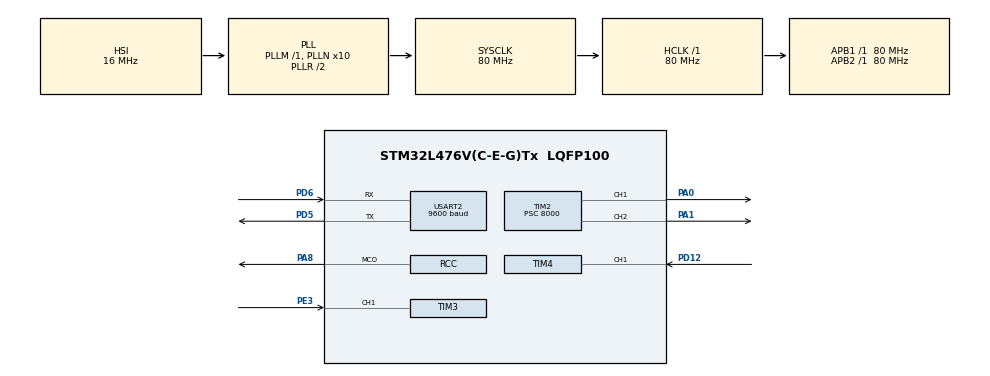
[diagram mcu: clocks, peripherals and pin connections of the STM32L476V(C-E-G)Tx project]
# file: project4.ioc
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Mcu.Family=STM32L4
RCC.MSI_VALUE=4000000
RCC.PLLSourceVirtual=RCC_PLLSOURCE_HSI
SH.S_TIM2_CH1.0=TIM2_CH1,PWM Generation1 CH1
RCC.CortexFreq_Value=80000000
FREERTOS.Tasks01=defaultTask,24,256,StartDefaultTask,Default,NULL,Dynamic,NULL,NULL
VP_SYS_VS_tim17.Mode=TIM17
PH0-OSC_IN\ (PH0).Signal=RCC_OSC_IN
PD5.Signal=USART2_TX
TIM2.Channel-PWM\ Generation2\ CH2=TIM_CHANNEL_2
PD6.Mode=Asynchronous
NVIC.USART2_IRQn=true\:5\:0\:true\:false\:true\:false\:true\:true
USART2.BaudRate=9600
PH1-OSC_OUT\ (PH1).Signal=RCC_OSC_OUT
RCC.SYSCLKSource=RCC_SYSCLKSOURCE_PLLCLK
ProjectManager.StackSize=0x400
TIM2.Pulse-PWM\ Generation1\ CH1=500
VP_FREERTOS_VS_CMSIS_V2.Mode=CMSIS_V2
TIM4.Channel-Input_Capture1_from_TI1=TIM_CHANNEL_1
FREERTOS.configUSE_IDLE_HOOK=0
SH.S_TIM2_CH2.0=TIM2_CH2,PWM Generation2 CH2
ProjectManager.TargetToolchain=STM32CubeIDE
FREERTOS.configUSE_STATS_FORMATTING_FUNCTIONS=1
RCC.HCLKFreq_Value=80000000
RCC.APB2TimFreq_Value=80000000
RCC.USBFreq_Value=64000000
TIM4.Prescaler=8000
FREERTOS.configMINIMAL_STACK_SIZE=256
RCC.LSE_VALUE=32768
PA1.Signal=S_TIM2_CH2
RCC.AHBFreq_Value=80000000
PD5.Mode=Asynchronous
PH1-OSC_OUT\ (PH1).Mode=HSE-External-Oscillator
RCC.HSE_VALUE=8000000
TIM3.Channel-Input_Capture1_from_TI1=TIM_CHANNEL_1
board=custom
USART2.VirtualMode-Asynchronous=VM_ASYNC
RCC.VCOOutputFreq_Value=160000000
NVIC.TIM1_TRG_COM_TIM17_IRQn=true\:0\:0\:false\:false\:true\:false\:false\:true
RCC.APB2Freq_Value=80000000
VP_TIM2_VS_ClockSourceINT.Mode=Internal
TIM3.Prescaler=8000
NVIC.TIM2_IRQn=true\:5\:0\:false\:false\:true\:true\:true\:true
RCC.ADCFreq_Value=64000000
PA8.Signal=RCC_MCO
TIM2.Channel-PWM\ Generation1\ CH1=TIM_CHANNEL_1
SH.S_TIM3_CH1.0=TIM3_CH1,Input_Capture1_from_TI1
TIM2.Period=200
Mcu.Name=STM32L476V(C-E-G)Tx
FREERTOS.configTOTAL_HEAP_SIZE=20000
PA0.Signal=S_TIM2_CH1
RCC.SYSCLKFreq_VALUE=80000000
Mcu.Package=LQFP100
TIM2.Prescaler=8000
NVIC.TimeBase=TIM1_TRG_COM_TIM17_IRQn
PD12.Signal=S_TIM4_CH1
NVIC.TimeBaseIP=TIM17
ProjectManager.HeapSize=0x200
TIM2.Pulse-PWM\ Generation2\ CH2=500
RCC.HSI_VALUE=16000000
NVIC.PriorityGroup=NVIC_PRIORITYGROUP_4
RCC.PLLN=10
SH.S_TIM4_CH1.0=TIM4_CH1,Input_Capture1_from_TI1
RCC.APB1TimFreq_Value=80000000
PE3.Signal=S_TIM3_CH1
FREERTOS.configGENERATE_RUN_TIME_STATS=1
TIM2.AutoReloadPreload=TIM_AUTORELOAD_PRELOAD_DISABLE
PA8.Mode=Clock-out
PD6.Signal=USART2_RX
RCC.APB1Freq_Value=80000000
PH0-OSC_IN\ (PH0).Mode=HSE-External-Oscillator

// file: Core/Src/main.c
/* USER CODE BEGIN Header */
/**
  ******************************************************************************
  * @file           : main.c
  * @brief          : Main program body
  ******************************************************************************
  * @attention
  *
  * <h2><center>&copy; Copyright (c) 2020 STMicroelectronics.
  * All rights reserved.</center></h2>
  *
  * This software component is licensed by ST under BSD 3-Clause license,
  * the "License"; You may not use this file except in compliance with the
  * License. You may obtain a copy of the License at:
  *                        opensource.org/licenses/BSD-3-Clause
  *
  ******************************************************************************
  */
/* USER CODE END Header */
#include "main.h"
#include "cmsis_os.h"
#include "tim.h"
#include "usart.h"
#include "gpio.h"

void SystemClock_Config(void);
void MX_FREERTOS_Init(void);

/* USER CODE BEGIN 0 */
TIM_HandleTypeDef htim2;
/* USER CODE END 0 */

int main(void)
{

  /* MCU Configuration--------------------------------------------------------*/

  /* Reset of all peripherals, Initializes the Flash interface and the Systick. */
  HAL_Init();

  /* Configure the system clock */
  SystemClock_Config();

  /* Initialize all configured peripherals */
  MX_GPIO_Init();
  MX_USART2_UART_Init();
  MX_TIM2_Init();
  MX_TIM3_Init();
  MX_TIM4_Init();
  /* USER CODE BEGIN 2 */
  HAL_TIM_Base_Start(&htim2);
  HAL_TIM_PWM_Start(&htim2, TIM_CHANNEL_1);
  HAL_TIM_PWM_Start(&htim2, TIM_CHANNEL_2);
//  __HAL_TIM_SetCompare(&htim2, TIM_CHANNEL_2, 0);
//  HAL_Delay(1000);
//  __HAL_TIM_SetCompare(&htim2, TIM_CHANNEL_2, 5);
//  HAL_Delay(1000);
//  __HAL_TIM_SetCompare(&htim2, TIM_CHANNEL_2, 7);
//  HAL_Delay(1000);
//  __HAL_TIM_SetCompare(&htim2, TIM_CHANNEL_2, 10);
//  HAL_Delay(1000);
//  __HAL_TIM_SetCompare(&htim2, TIM_CHANNEL_2, 13);
//  HAL_Delay(1000);
//  __HAL_TIM_SetCompare(&htim2, TIM_CHANNEL_2, 16);
//  HAL_Delay(1000);
//  __HAL_TIM_SetCompare(&htim2, TIM_CHANNEL_2, 19);
//  HAL_Delay(1000);
  /* USER CODE END 2 */

  /* Init scheduler */
  osKernelInitialize();  /* Call init function for freertos objects (in freertos.c) */
  MX_FREERTOS_Init();
  /* Start scheduler */
  osKernelStart();

  /* We should never get here as control is now taken by the scheduler */
  /* Infinite loop */
  while (1)
  {

  }
}

void SystemClock_Config(void)
{
  RCC_OscInitTypeDef RCC_OscInitStruct = {0};
  RCC_ClkInitTypeDef RCC_ClkInitStruct = {0};
  RCC_PeriphCLKInitTypeDef PeriphClkInit = {0};

  /** Initializes the RCC Oscillators according to the specified parameters
  * in the RCC_OscInitTypeDef structure.
  */
  RCC_OscInitStruct.OscillatorType = RCC_OSCILLATORTYPE_HSI;
  RCC_OscInitStruct.HSIState = RCC_HSI_ON;
  RCC_OscInitStruct.HSICalibrationValue = RCC_HSICALIBRATION_DEFAULT;
  RCC_OscInitStruct.PLL.PLLState = RCC_PLL_ON;
  RCC_OscInitStruct.PLL.PLLSource = RCC_PLLSOURCE_HSI;
  RCC_OscInitStruct.PLL.PLLM = 1;
  RCC_OscInitStruct.PLL.PLLN = 10;
  RCC_OscInitStruct.PLL.PLLP = RCC_PLLP_DIV7;
  RCC_OscInitStruct.PLL.PLLQ = RCC_PLLQ_DIV2;
  RCC_OscInitStruct.PLL.PLLR = RCC_PLLR_DIV2;
  if (HAL_RCC_OscConfig(&RCC_OscInitStruct) != HAL_OK)
  {
    Error_Handler();
  }
  /** Initializes the CPU, AHB and APB buses clocks
  */
  RCC_ClkInitStruct.ClockType = RCC_CLOCKTYPE_HCLK|RCC_CLOCKTYPE_SYSCLK
                              |RCC_CLOCKTYPE_PCLK1|RCC_CLOCKTYPE_PCLK2;
  RCC_ClkInitStruct.SYSCLKSource = RCC_SYSCLKSOURCE_PLLCLK;
  RCC_ClkInitStruct.AHBCLKDivider = RCC_SYSCLK_DIV1;
  RCC_ClkInitStruct.APB1CLKDivider = RCC_HCLK_DIV1;
  RCC_ClkInitStruct.APB2CLKDivider = RCC_HCLK_DIV1;

  if (HAL_RCC_ClockConfig(&RCC_ClkInitStruct, FLASH_LATENCY_4) != HAL_OK)
  {
    Error_Handler();
  }
  PeriphClkInit.PeriphClockSelection = RCC_PERIPHCLK_USART2;
  PeriphClkInit.Usart2ClockSelection = RCC_USART2CLKSOURCE_PCLK1;
  if (HAL_RCCEx_PeriphCLKConfig(&PeriphClkInit) != HAL_OK)
  {
    Error_Handler();
  }
  HAL_RCC_MCOConfig(RCC_MCO1, RCC_MCO1SOURCE_SYSCLK, RCC_MCODIV_1);
  /** Configure the main internal regulator output voltage
  */
  if (HAL_PWREx_ControlVoltageScaling(PWR_REGULATOR_VOLTAGE_SCALE1) != HAL_OK)
  {
    Error_Handler();
  }
}

/* USER CODE BEGIN 4 */
void HAL_TIM_IC_CaptureCallback(TIM_HandleTypeDef* htim)
{
	TIM2->CCR1 = (7);
}
/* USER CODE END 4 */

 /**
  * @brief  Period elapsed callback in non blocking mode
  * @note   This function is called  when TIM17 interrupt took place, inside
  * HAL_TIM_IRQHandler(). It makes a direct call to HAL_IncTick() to increment
  * a global variable "uwTick" used as application time base.
  * @param  htim : TIM handle
  * @retval None
  */
void HAL_TIM_PeriodElapsedCallback(TIM_HandleTypeDef *htim)
{
  if (htim->Instance == TIM17) {
    HAL_IncTick();
  }
}

void Error_Handler(void)
{
}

/************************ (C) COPYRIGHT STMicroelectronics *****END OF FILE****/

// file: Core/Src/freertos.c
/* USER CODE BEGIN Header */
/**
  ******************************************************************************
  * File Name          : freertos.c
  * Description        : Code for freertos applications
  ******************************************************************************
  * @attention
  *
  * <h2><center>&copy; Copyright (c) 2020 STMicroelectronics.
  * All rights reserved.</center></h2>
  *
  * This software component is licensed by ST under Ultimate Liberty license
  * SLA0044, the "License"; You may not use this file except in compliance with
  * the License. You may obtain a copy of the License at:
  *                             www.st.com/SLA0044
  *
  ******************************************************************************
  */
/* USER CODE END Header */

#include "FreeRTOS.h"
#include "task.h"
#include "main.h"
#include "cmsis_os.h"

/* USER CODE BEGIN Includes */
/////////////////////////////////////////////////////////////////////////
/////////////////////////////////////////////////////////////////////////
/////////////////////////////////////////////////////////////////////////

#include "string.h"
#include "stdio.h"
#include "stm32l476xx.h"
#include "usart.h"
#include "semphr.h"
#include "tim.h"
#include <stdarg.h>

#define MOV (32)
#define WAIT (64)
#define LOOP (128)
#define END_LOOP (160)
#define RECIPE_END (0)
#define ERROR (192)
#define ZERO_DEGREES (5)
#define THIRY_TWO_DEGREES (7)
#define SIXTY_FOUR_DEGREES (10)
#define NINETY_SIX_DEGREES (13)
#define ONE_HUNDRED_AND_TWENTY_EIGHT_DEGREES (16)
#define ONE_HUNDRED_AND_SIXTY_DEGREES (19)

typedef enum {
	inactive,
	active,
	paused,
} servo_status;

typedef enum {
	idle,
	running,
} recipe_status;

typedef enum {
	zero_degrees,
	thiry_two_degrees,
	sixty_four_degrees,
	ninety_six_degrees,
	one_hundred_and_twenty_eight_degrees,
	one_hundred_and_sixty_degrees,
	END_OF_POSITION_ARRAY
} position;

typedef struct{
	servo_status status;
	position position;
	uint16_t last_start;
	position next_pos;
	uint16_t delay;
	recipe_status recipe_status;
	int recipe_idx;
	int instr_idx;
	int loop_cnt;
	int is_in_loop;
	int loop_idx;
} servo_data;

typedef struct{
	uint8_t opcode;
	uint8_t parameter;
} current_instruction;

typedef struct{
	int motor_idx;
	char cmd;
} cmd_status_t;

extern int positions[END_OF_POSITION_ARRAY];

int positions[END_OF_POSITION_ARRAY] = {
	ZERO_DEGREES,
	THIRY_TWO_DEGREES,
	SIXTY_FOUR_DEGREES,
	NINETY_SIX_DEGREES,
	ONE_HUNDRED_AND_TWENTY_EIGHT_DEGREES,
	ONE_HUNDRED_AND_SIXTY_DEGREES
};

servo_data servos[2];

int recipes[4][100] = {
	{
		MOV + 0,
		MOV + 5,
		MOV + 0,
		MOV + 3,
		LOOP + 0,
		MOV + 1,
		MOV + 4,
		END_LOOP,
		MOV + 0,
		MOV + 2,
		WAIT + 0,
		MOV + 3,
		WAIT + 0,
		MOV + 2,
		MOV + 3,
		WAIT + 31,
		WAIT + 31,
		WAIT + 31,
		MOV + 4,
		RECIPE_END
	},
	{
		MOV + 0,
		MOV + 1,
		MOV + 2,
		MOV + 3,
		MOV + 4,
		MOV + 5,
		RECIPE_END
	},
	{
		MOV + 5,
		ERROR + 1,
		MOV + 1,
		RECIPE_END
	},
	{
		MOV + 2,
		LOOP + 1,
		MOV + 1,
		LOOP + 1,
		MOV + 5,
		END_LOOP,
		END_LOOP,
		RECIPE_END,
		MOV + 1,
		RECIPE_END
	}
};

xQueueHandle rxQueue;               // RX ISR places char in queue, ReceiveTask pulls them out.
uint8_t rx_char;                    // HAL will place received char here
#define CMD_BUF_SIZE 100            // this is the max length of a command line expected from the user.
static char cmd_line[CMD_BUF_SIZE]; // Received chars are buffered here until printed
int idx = 0;
int first = 0;
int recipe_start = 0;
char command_buffer[3] = {NULL, NULL, NULL};
void printBytes(char *bytes, int num);
xSemaphoreHandle txMutex;
xSemaphoreHandle recipe_mutex;
xSemaphoreHandle cmd_mutex;
SemaphoreHandle_t servo_mutex;

void printBytes(char *bytes, int num){
    xSemaphoreTake( txMutex, portMAX_DELAY );
    HAL_UART_Transmit_IT(&huart2, (uint8_t *)bytes, num);
}

void HAL_UART_TxCpltCallback(UART_HandleTypeDef *huart)
{
    BaseType_t pxHigherPriorityTaskWoken;
    xSemaphoreGiveFromISR( txMutex, &pxHigherPriorityTaskWoken );
    portYIELD_FROM_ISR(pxHigherPriorityTaskWoken);
}

void TransmitTask( void *pvParameters) {
    char *buffer = (char *)pvParameters;
    printBytes(buffer, strlen(buffer));
    for(;;) {
        vTaskDelay(1000);
    }
}

void usart_write_data_string(char *message, ...){
  va_list data_points;
  va_start(data_points, message);
  char buffer[2000];
  vsprintf(buffer, message, data_points);
  va_end(data_points);
  HAL_UART_Transmit_IT(&huart2, (uint8_t *)buffer, strlen(buffer));
}

uint8_t get_opcode(uint8_t byte_register){
	return byte_register & 224;
}

uint8_t get_parameter(uint8_t byte_register){
	return byte_register & 31;
}

uint16_t get_current_time(int servo_num){
	if(servo_num == 0){
		return (uint16_t)TIM3->CNT;
	}
	else {
		return (uint16_t)TIM4->CNT;
	}
}

uint16_t calculate_delay(position last_position, position new_position, int recipe){
	uint16_t number_of_steps, delay = 0;
	number_of_steps = abs(last_position - new_position);
	if(recipe){
		delay = (uint16_t)1000 * number_of_steps;
	}
	else {
		delay = (uint16_t)200 * number_of_steps;
	}
	return delay;
}

uint16_t move_motor(int motor_num, servo_data *motor, uint16_t next_pos, int recipe){
	position last_position;
	position new_position = (position)next_pos;
	uint16_t current_time = get_current_time(motor_num);
	uint16_t delay = calculate_delay(last_position, new_position, recipe);
	if(motor_num == 0){
		__HAL_TIM_SetCompare(&htim2, TIM_CHANNEL_1, positions[new_position]);
	}
	else {
		__HAL_TIM_SetCompare(&htim2, TIM_CHANNEL_2, positions[new_position]);
	}
	HAL_Delay(1000);
	last_position = motor->position;
	motor->position = new_position;
	motor->next_pos = (position)next_pos;
	motor->last_start = current_time;
	motor->delay = delay;
}

current_instruction get_instruction(uint8_t byte_register){
	current_instruction instruction_struct;
	instruction_struct.opcode = get_opcode(byte_register);
	instruction_struct.parameter = get_parameter(byte_register);
	return instruction_struct;
}

int instruction_in_bounds(current_instruction instruction){
	return (instruction.parameter <= one_hundred_and_sixty_degrees);
}

int parse_cmd(cmd_status_t cmd_status){
	int move_command_entered = 0;
	int recipe_start = 0;
	int already_printed_warning = 0;
	int restart = 0;
	uint16_t next_pos;
	uint16_t current_delay_time = 0;\
	vTaskDelay(2);
	xSemaphoreTake(servo_mutex, 10000);
	int index = cmd_status.motor_idx;
	char cmd = cmd_status.cmd;
	if (cmd == 'b'){
			reset_servo(index, &servos[index], 1);
			current_delay_time = 1000;
			servos[index].status = active;
			recipe_start = 1;
			restart = 1;
			run_recipe();
	}
	else if (cmd == 'c'){
			servos[index].status = active;
			servos[index].recipe_status = idle;
			run_recipe();
			vTaskDelay(2);
	}
	else if (cmd == 'l'){
			next_pos = servos[index].position - 1;
			if(servos[index].position != zero_degrees) {
				current_delay_time = move_motor(index, &servos[index], next_pos, 0);
				move_command_entered = 1;
			}
			else {
				xTaskCreate( TransmitTask, "Transmit", 50, "Cannot move motor further left\r\n", 0, NULL);
			}
	}
	else if (cmd == 'p'){
		servos[index].status = inactive;
	}
	else if (cmd == 'n'){
		;
	}
	else if (cmd == 'r'){
		next_pos = servos[index].position + 1;
		if(servos[index].position != one_hundred_and_sixty_degrees) {
			current_delay_time = move_motor(index, &servos[index], next_pos, 0);
			move_command_entered = 1;
		}
		else {
			xTaskCreate( TransmitTask, "Transmit", 50, "Cannot move motor further right\r\n", 0, NULL);
		}
	}
	else{
		xTaskCreate( TransmitTask, "Transmit", 50, "Invalid command\r\n", 0, NULL);
	}
	xSemaphoreGive(servo_mutex);
}

void run_recipe(){
	xTaskCreate( TransmitTask, "Transmit", 256, "Running recipes...\r\n", 0, NULL);
	int recipe_ended = 0;
	int keep_going = 0;
	int servos_paused = 0;
	char pause = NULL;

	while(1){
		if ((recipe_ended == 2) || (servos_paused == 2) || ((servos_paused == 1) && (recipe_ended == 1)) || ((servos_paused == 1) && (some_servo_inactive(servos))) || (both_servos_inactive_or_paused(servos))){
			break;
		}
		for(int servo_index = 0; servo_index < 2; servo_index++){
			if(servos[servo_index].status == active){
				current_instruction instruction = get_instruction(recipes[servos[servo_index].recipe_idx][servos[servo_index].instr_idx]);
				switch(instruction.opcode){
				case MOV:
					if(instruction_in_bounds(instruction)){
						if(servos[servo_index].recipe_status == idle){
							start_timer(servo_index);
							move_motor(servo_index, &servos[servo_index], instruction.parameter, 1);
							servos[servo_index].recipe_status = running;
						}
						if(servos[servo_index].recipe_status == running){
							if(servo_ready(servo_index)){
								stop_timer(servo_index);
								servos[servo_index].recipe_status = idle;
								servos[servo_index].instr_idx++;
							}
						}
					}
					else{
						xTaskCreate( TransmitTask, "Transmit", 256, "ERROR: Input out of bounds\r\n", 0, NULL);
						keep_going = stop();
						if(keep_going){
							servos[servo_index].instr_idx++;
						}
					}
					break;
				case WAIT:
					if(servos[servo_index].recipe_status == idle){
						servos[servo_index].delay = (uint16_t)1000 * instruction.parameter;
						servos[servo_index].recipe_status = running;
						start_timer(servo_index);
						uint16_t current_time = get_current_time(servo_index);
						servos[servo_index].last_start = current_time;
					}
					if(servos[servo_index].recipe_status == running){
						if(servo_ready(servo_index)){
							stop_timer(servo_index);
							servos[servo_index].recipe_status = idle;
							servos[servo_index].instr_idx++;
						}
					}
					break;
				case LOOP:
					if(servos[servo_index].is_in_loop == 1){
						xTaskCreate( TransmitTask, "Transmit", 256, "ERROR: Input creates nested loops\r\n", 0, NULL);
						keep_going = stop();
						if(keep_going){
							servos[servo_index].instr_idx++;
							servos[servo_index].is_in_loop = 0;
						}
					}
					else{
						servos[servo_index].instr_idx++;
						servos[servo_index].is_in_loop = 1;
						servos[servo_index].loop_idx = servos[servo_index].instr_idx;
						servos[servo_index].loop_cnt = instruction.parameter - 1;
					}
					break;
				case END_LOOP:
					if(servos[servo_index].is_in_loop != 1){
						xTaskCreate( TransmitTask, "Transmit", 256, "ERROR: Input creates nested loops\r\n", 0, NULL);
						keep_going = stop();
						if(keep_going){
							servos[servo_index].instr_idx++;
							servos[servo_index].is_in_loop = 0;
						}
					}
					else{
						if(servos[servo_index].loop_cnt < 0){
							servos[servo_index].is_in_loop = 0;
							servos[servo_index].instr_idx++;
						}
						else {
							servos[servo_index].instr_idx = servos[servo_index].loop_idx;
							servos[servo_index].loop_cnt--;
						}
					}
					break;
				case RECIPE_END:
					recipe_ended += 1;
					reset_servo(servo_index, &servos[servo_index], 0);
					break;
				default:
					xTaskCreate( TransmitTask, "Transmit", 256, "ERROR: Invalid recipe\r\n", 0, NULL);
					keep_going = stop();
					if(keep_going){
						servos[servo_index].instr_idx++;
					}
					break;
				}
			}
		}
	}
	reset_all_servos(0);
	if(servos_paused == 2){
		xTaskCreate( TransmitTask, "Transmit", 256, "Recipe finished\r\n", 0, NULL);
	}
	stop_timers();
}

// overrides __weak version in stm32l4xx_hal_uart.c
// called when a byte has been received
void HAL_UART_RxCpltCallback(UART_HandleTypeDef *huart) {
    // queue the received byte for the ReceiveTask
    BaseType_t higherPriorityTaskWoken;
    xQueueSendFromISR(rxQueue, &rx_char, &higherPriorityTaskWoken); // queue the char
    HAL_UART_Receive_IT(&huart2, &rx_char, 1);      // tell HAL to receive another char
    portYIELD_FROM_ISR(higherPriorityTaskWoken);
}

// pulls chars from rxQueue. When '\n' encountered, the line is printed
void ReceiveTask( void *pvParameters) {
    char letter;
    int cmd_idx = 0;
    HAL_UART_Receive_IT(&huart2, &rx_char, 1);      // tell HAL to start receiving chars!!!

    for(;;) {
        // keep pulling letters from rxQueue until its empty
        while(xQueuePeek( rxQueue, &letter, 0 ) != errQUEUE_EMPTY) {
            xQueueReceive( rxQueue, &letter, 1000);    // SHOULD return immediately because queue not empty

            // add letter to command line
            cmd_line[cmd_idx] = letter & 0xff;
            cmd_idx = (cmd_idx+1) % CMD_BUF_SIZE;   // safe if user types > CMD_BUF_SIZE with no \n
            printBytes((char *)&letter, 1);
            // print a full command line (ending in '\n')
            if(letter == '\r') {
                cmd_line[cmd_idx] = 0;          // nul terminate string
                printBytes(cmd_line, cmd_idx);  // this call blocks
                printBytes("\r\n", 4);
                cmd_idx = 0;
            	for(int i = 0; i < 2; i++){
        			cmd_status_t params;
            		params.cmd = cmd_line[i];
            		params.motor_idx = (int)i;
            		parse_cmd(params);
            	}
            }
            if (recipe_start) {
            	run_recipe();
            	recipe_start = 0;
            }
        }
    }
    xTaskCreate( ReceiveTask, "Receive", 256, "", 0, NULL );
}

int check_for_continuation(){
	char input = NULL;
	int keep_going = 0;
	xTaskCreate( TransmitTask, "Transmit", 256, "Skip next instruction? Press y or n\r\n", 0, NULL);
	xTaskCreate( ReceiveTask, "Receive", 256, "", 0, NULL );
}

int stop(){
	int keep_going = 0;
	keep_going = check_for_continuation();
	if(!keep_going){
		xTaskCreate( TransmitTask, "Transmit", 256, "Exiting program\r\n", 0, NULL);
		while(1);
	}
	return keep_going;
}

void delay(uint32_t delay_time) {
	delay_time = (10000 * delay_time);
	for(uint32_t index = 0; index < delay_time; index++);
}

void start_timer(int servo_num){
	if(servo_num == 0){
		TIM3->CR1 |= 0x1;
	}
	else {
		TIM4->CR1 |= 0x1;
	}
}

void start_timers(){
	for(int servo_num = 0; servo_num < 2; servo_num++){
		start_timer(servo_num);
	}
}

void stop_timer(int servo_num){
	if(servo_num == 0){
		TIM3->CR1 &= 0x0;
	}
	else {
		TIM4->CR1 &= 0x0E;
	}
}

void stop_timers(){
	for(int servo_num = 0; servo_num < 2; servo_num++){
		stop_timer(servo_num);
	}
}

uint16_t get_current_measurement(int servo_num){
	if(servo_num == 0){
		return (uint16_t)TIM3->CCR1;
	}
	else {
		return (uint16_t)TIM4->CCR1;
	}
}

void increment_recipe(servo_data *motor){
	if(motor->recipe_idx >= 3){
		motor->recipe_idx = 0;
	}
	else{
		motor->recipe_idx++;
	}
}

void reset_servo(int index, servo_data *motor, int restart){
	if(!restart){
		xTaskCreate( TransmitTask, "Transmit", 256, "Recipe complete, resetting...\r\n", 0, NULL);
		increment_recipe(motor);
		motor->status = inactive;
	}
	else {
		motor->recipe_idx = 0;
	}
	move_motor(index, motor, zero_degrees, 1);
	motor->instr_idx = 0;
	motor->loop_cnt = 0;
	motor->loop_idx = 0;
	motor->is_in_loop = 0;
	motor->next_pos = zero_degrees;
	motor->delay = 0;
	motor->recipe_status = idle;
}

void reset_all_servos(int restart){
	for(int servo_data_index; servo_data_index < 2; servo_data_index++){
		if((servos[servo_data_index].status == active) || restart){
			reset_servo(servo_data_index, &servos[servo_data_index], restart);
		}
	}
}

int servo_ready(int servo_num){
	uint16_t current_time = get_current_time(servo_num);
	uint16_t last_start = servos[servo_num].last_start;
	uint16_t delay = servos[servo_num].delay;
	if(abs(current_time - last_start) > delay){
		return 1;
	}
	else {
		return 0;
	}
}

int some_servo_inactive(servo_data *servos){
	int servo_inactive = 0;
	for(int servo_num = 0; servo_num < 2; servo_num++){
		if(servos[servo_num].status == inactive){
			servo_inactive = 1;
			break;
		}
	}
	return servo_inactive;
}

int both_servos_inactive_or_paused(servo_data *servos){
	int stop = 0;
	for(int servo_num = 0; servo_num < 2; servo_num++){
			if((servos[servo_num].status == inactive) || (servos[servo_num].status == paused)){
				stop += 1;
			}
	}
	if(stop == 2){
		return 1;
	}
	else {
		return 0;
	}
}

int is_valid(char *input, char *valid_characters){
  if(!strpbrk(input, valid_characters)){
    return 0;
  }
  return 1;
}

/////////////////////////////////////////////////////////////////////////
/////////////////////////////////////////////////////////////////////////
/////////////////////////////////////////////////////////////////////////

/* USER CODE END Includes */

/* Definitions for defaultTask */
osThreadId_t defaultTaskHandle;
const osThreadAttr_t defaultTask_attributes = {
  .name = "defaultTask",
  .stack_size = 256 * 4,
  .priority = (osPriority_t) osPriorityNormal,
};

void StartDefaultTask(void *argument);

void MX_FREERTOS_Init(void); /* (MISRA C 2004 rule 8.1) */

/* Hook prototypes */
void configureTimerForRunTimeStats(void);
unsigned long getRunTimeCounterValue(void);

/* USER CODE BEGIN 1 */
/* Functions needed when configGENERATE_RUN_TIME_STATS is on */
__weak void configureTimerForRunTimeStats(void)
{

}

__weak unsigned long getRunTimeCounterValue(void)
{
return 0;
}
/* USER CODE END 1 */

void MX_FREERTOS_Init(void) {

  /* Create the thread(s) */
  /* creation of defaultTask */
  defaultTaskHandle = osThreadNew(StartDefaultTask, NULL, &defaultTask_attributes);

  /* USER CODE BEGIN RTOS_THREADS */
  /* add threads, ... */

  /////////////////////////////////////////////////////////////////////////
  /////////////////////////////////////////////////////////////////////////
  /////////////////////////////////////////////////////////////////////////

    ///////////////////////////////  TRANSMIT STUFF ////////////////////////////

    // create mutex for transmission (printing)
    txMutex = xSemaphoreCreateBinary();     // protects HAL_UART in printBytes()
    xSemaphoreGive(txMutex);                // the mutex is ready. First come, first served.
    servo_mutex = xSemaphoreCreateMutex();
    cmd_mutex = xSemaphoreCreateMutex();

    xTaskCreate( TransmitTask, "Transmit", 256, "Enter a two letter command to control each servo motor...\r\n", 0, NULL);
    xTaskCreate( TransmitTask, "Transmit", 256, "Valid letters are:\r\n", 0, NULL);
    xTaskCreate( TransmitTask, "Transmit", 256, "    --p: Pause recipe\r\n", 0, NULL);
    xTaskCreate( TransmitTask, "Transmit", 256, "    --c: Continue recipe\r\n", 0, NULL);
    xTaskCreate( TransmitTask, "Transmit", 256, "    --r: Move servo to right\r\n", 0, NULL);
    xTaskCreate( TransmitTask, "Transmit", 256, "    --l: Move servo to left\r\n", 0, NULL);
    xTaskCreate( TransmitTask, "Transmit", 256, "    --n: Do nothing\r\n", 0, NULL);
    xTaskCreate( TransmitTask, "Transmit", 256, "    --b: Start recipe\r\n", 0, NULL);

    xSemaphoreTake(servo_mutex, 10000);
	for(int servo_data_index; servo_data_index < 2; servo_data_index++){
		servos[servo_data_index].status = inactive;
		servos[servo_data_index].position = zero_degrees;
		servos[servo_data_index].last_start = 0;
		servos[servo_data_index].next_pos = zero_degrees;
		servos[servo_data_index].delay = 0;
		servos[servo_data_index].recipe_status = idle;
		servos[servo_data_index].recipe_idx = 0;
		servos[servo_data_index].instr_idx = 0;
		servos[servo_data_index].loop_cnt = 0;
		servos[servo_data_index].is_in_loop = 0;
		servos[servo_data_index].loop_idx = 0;
	}
	xSemaphoreGive(servo_mutex);
//	xTaskCreate( TransmitTask, "Transmit", 256, "Enter a two letter command to control each servo motor...\r\n", 0, NULL);
//	xTaskCreate( TransmitTask, "Transmit", 35, "Valid letters are:\r\n", 0, NULL);
//	xTaskCreate( TransmitTask, "Transmit", 35, "    --p: Pause recipe\r\n", 0, NULL);
//	xTaskCreate( TransmitTask, "Transmit", 35, "    --c: Continue recipe\r\n", 0, NULL);
//	xTaskCreate( TransmitTask, "Transmit", 35, "    --r: Move servo to right\r\n", 0, NULL);
//	xTaskCreate( TransmitTask, "Transmit", 35, "    --l: Move servo to left\r\n", 0, NULL);
//	xTaskCreate( TransmitTask, "Transmit", 35, "    --n: Do nothing\r\n", 0, NULL);
//	xTaskCreate( TransmitTask, "Transmit", 35, "    --b: Start recipe\r\n", 0, NULL);
    ///////////////////////////////  RECEIVE STUFF ////////////////////////////
	int recipe_start = 0;
	rxQueue = xQueueCreate( 10, 1);
	xTaskCreate( ReceiveTask, "Receive", 256, "", 0, NULL );

    /////////////////////////////////////////////////////////////////////////
    /////////////////////////////////////////////////////////////////////////
    /////////////////////////////////////////////////////////////////////////

  /* USER CODE END RTOS_THREADS */

}

void StartDefaultTask(void *argument)
{
  for(;;)
  {
    osDelay(1);
  }
}

/************************ (C) COPYRIGHT STMicroelectronics *****END OF FILE****/
